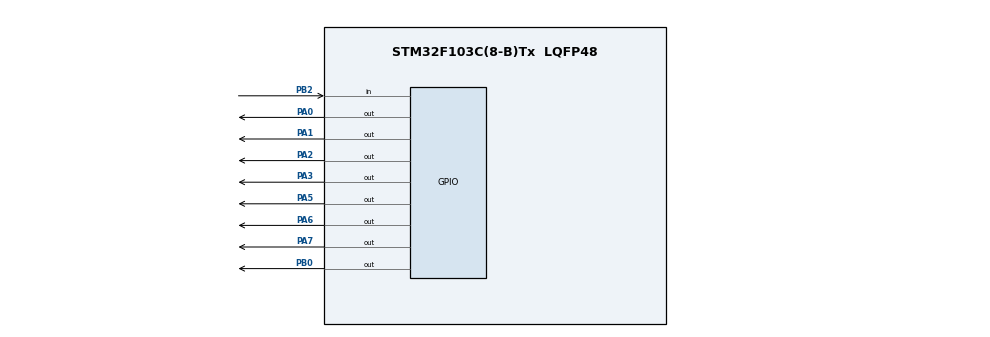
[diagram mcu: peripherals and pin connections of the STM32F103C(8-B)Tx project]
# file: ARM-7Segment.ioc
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Mcu.Family=STM32F1
Mcu.Name=STM32F103C(8-B)Tx
Mcu.Package=LQFP48
NVIC.PriorityGroup=NVIC_PRIORITYGROUP_4
PA0-WKUP.Signal=GPIO_Output
PA1.Signal=GPIO_Output
PA2.Signal=GPIO_Output
PA3.Signal=GPIO_Output
PA5.Signal=GPIO_Output
PA6.Signal=GPIO_Output
PA7.Signal=GPIO_Output
PB0.Signal=GPIO_Output
PB2.GPIO_Mode=GPIO_MODE_INPUT
PB2.GPIO_PuPd=GPIO_PULLUP
PB2.Signal=GPIO_Input
ProjectManager.TargetToolchain=MDK-ARM V5
RCC.APB1Freq_Value=8000000
RCC.APB2Freq_Value=8000000

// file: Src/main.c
/**
  ******************************************************************************
  * File Name          : main.c
  * Date               : 07/09/2020 21:03:31
  * Description        : Main program body
  ******************************************************************************
  *
  * COPYRIGHT(c) 2020 STMicroelectronics
  *
  * Redistribution and use in source and binary forms, with or without modification,
  * are permitted provided that the following conditions are met:
  *   1. Redistributions of source code must retain the above copyright notice,
  *      this list of conditions and the following disclaimer.
  *   2. Redistributions in binary form must reproduce the above copyright notice,
  *      this list of conditions and the following disclaimer in the documentation
  *      and/or other materials provided with the distribution.
  *   3. Neither the name of STMicroelectronics nor the names of its contributors
  *      may be used to endorse or promote products derived from this software
  *      without specific prior written permission.
  *
  * THIS SOFTWARE IS PROVIDED BY THE COPYRIGHT HOLDERS AND CONTRIBUTORS "AS IS"
  * AND ANY EXPRESS OR IMPLIED WARRANTIES, INCLUDING, BUT NOT LIMITED TO, THE
  * IMPLIED WARRANTIES OF MERCHANTABILITY AND FITNESS FOR A PARTICULAR PURPOSE ARE
  * DISCLAIMED. IN NO EVENT SHALL THE COPYRIGHT HOLDER OR CONTRIBUTORS BE LIABLE
  * FOR ANY DIRECT, INDIRECT, INCIDENTAL, SPECIAL, EXEMPLARY, OR CONSEQUENTIAL
  * DAMAGES (INCLUDING, BUT NOT LIMITED TO, PROCUREMENT OF SUBSTITUTE GOODS OR
  * SERVICES; LOSS OF USE, DATA, OR PROFITS; OR BUSINESS INTERRUPTION) HOWEVER
  * CAUSED AND ON ANY THEORY OF LIABILITY, WHETHER IN CONTRACT, STRICT LIABILITY,
  * OR TORT (INCLUDING NEGLIGENCE OR OTHERWISE) ARISING IN ANY WAY OUT OF THE USE
  * OF THIS SOFTWARE, EVEN IF ADVISED OF THE POSSIBILITY OF SUCH DAMAGE.
  *
  ******************************************************************************
  */

#include "stm32f1xx_hal.h"

void SystemClock_Config(void);
static void MX_GPIO_Init(void);

int main(void)
{

  /* MCU Configuration----------------------------------------------------------*/

  /* Reset of all peripherals, Initializes the Flash interface and the Systick. */
  HAL_Init();

  /* Configure the system clock */
  SystemClock_Config();

  /* Initialize all configured peripherals */
  MX_GPIO_Init();

  /* USER CODE BEGIN 2 */
		int counter = 0;
  /* USER CODE END 2 */

  /* Infinite loop */
  /* USER CODE BEGIN WHILE */
  while (1)
  {
		if (HAL_GPIO_ReadPin(GPIOB,GPIO_PIN_2)==GPIO_PIN_SET)
		{
			counter++;
			counter %= 10;
			HAL_GPIO_WritePin(GPIOA,GPIO_PIN_0,GPIO_PIN_RESET); //E
			HAL_GPIO_WritePin(GPIOA,GPIO_PIN_1,GPIO_PIN_RESET); //D
			HAL_GPIO_WritePin(GPIOA,GPIO_PIN_2,GPIO_PIN_RESET); //C
			HAL_GPIO_WritePin(GPIOA,GPIO_PIN_3,GPIO_PIN_RESET); //DP
			HAL_GPIO_WritePin(GPIOA,GPIO_PIN_5,GPIO_PIN_RESET); //G
			HAL_GPIO_WritePin(GPIOA,GPIO_PIN_6,GPIO_PIN_RESET); //F
			HAL_GPIO_WritePin(GPIOA,GPIO_PIN_7,GPIO_PIN_RESET); //A
			HAL_GPIO_WritePin(GPIOB,GPIO_PIN_0,GPIO_PIN_RESET); //B
			if (counter==0)
			{
				HAL_GPIO_WritePin(GPIOA,GPIO_PIN_0,GPIO_PIN_SET); //E
				HAL_GPIO_WritePin(GPIOA,GPIO_PIN_1,GPIO_PIN_SET); //D
				HAL_GPIO_WritePin(GPIOA,GPIO_PIN_2,GPIO_PIN_SET); //C
				HAL_GPIO_WritePin(GPIOA,GPIO_PIN_6,GPIO_PIN_SET); //F
				HAL_GPIO_WritePin(GPIOA,GPIO_PIN_7,GPIO_PIN_SET); //A
				HAL_GPIO_WritePin(GPIOB,GPIO_PIN_0,GPIO_PIN_SET); //B
			}
			else if (counter==1)
			{
				HAL_GPIO_WritePin(GPIOB,GPIO_PIN_0,GPIO_PIN_SET);
				HAL_GPIO_WritePin(GPIOA,GPIO_PIN_2,GPIO_PIN_SET);
			}
			else if (counter==2)
			{
				HAL_GPIO_WritePin(GPIOA,GPIO_PIN_7,GPIO_PIN_SET); //A
				HAL_GPIO_WritePin(GPIOB,GPIO_PIN_0,GPIO_PIN_SET); //B
				HAL_GPIO_WritePin(GPIOA,GPIO_PIN_5,GPIO_PIN_SET); //G
				HAL_GPIO_WritePin(GPIOA,GPIO_PIN_0,GPIO_PIN_SET); //E
			  HAL_GPIO_WritePin(GPIOA,GPIO_PIN_1,GPIO_PIN_SET); //D
			}
			else if (counter==3)
			{
				HAL_GPIO_WritePin(GPIOA,GPIO_PIN_7,GPIO_PIN_SET); //A
				HAL_GPIO_WritePin(GPIOB,GPIO_PIN_0,GPIO_PIN_SET); //B
				HAL_GPIO_WritePin(GPIOA,GPIO_PIN_5,GPIO_PIN_SET); //G
				HAL_GPIO_WritePin(GPIOA,GPIO_PIN_2,GPIO_PIN_SET); //C
			  HAL_GPIO_WritePin(GPIOA,GPIO_PIN_1,GPIO_PIN_SET); //D
			}
			else if (counter==4)
			{
				HAL_GPIO_WritePin(GPIOA,GPIO_PIN_6,GPIO_PIN_SET); //F
				HAL_GPIO_WritePin(GPIOB,GPIO_PIN_0,GPIO_PIN_SET); //B
				HAL_GPIO_WritePin(GPIOA,GPIO_PIN_5,GPIO_PIN_SET); //G
				HAL_GPIO_WritePin(GPIOA,GPIO_PIN_2,GPIO_PIN_SET); //C
			}
			else if (counter==5)
			{
				HAL_GPIO_WritePin(GPIOA,GPIO_PIN_7,GPIO_PIN_SET); //A
				HAL_GPIO_WritePin(GPIOA,GPIO_PIN_6,GPIO_PIN_SET); //F
				HAL_GPIO_WritePin(GPIOA,GPIO_PIN_5,GPIO_PIN_SET); //G
				HAL_GPIO_WritePin(GPIOA,GPIO_PIN_2,GPIO_PIN_SET); //C
			  HAL_GPIO_WritePin(GPIOA,GPIO_PIN_1,GPIO_PIN_SET); //D
			}
			else if (counter==6)
			{
				HAL_GPIO_WritePin(GPIOA,GPIO_PIN_7,GPIO_PIN_SET); //A
				HAL_GPIO_WritePin(GPIOA,GPIO_PIN_6,GPIO_PIN_SET); //F
				HAL_GPIO_WritePin(GPIOA,GPIO_PIN_5,GPIO_PIN_SET); //G
				HAL_GPIO_WritePin(GPIOA,GPIO_PIN_2,GPIO_PIN_SET); //C
			  HAL_GPIO_WritePin(GPIOA,GPIO_PIN_1,GPIO_PIN_SET); //D
				HAL_GPIO_WritePin(GPIOA,GPIO_PIN_0,GPIO_PIN_SET); //E
			}
			else if (counter==7)
			{
				HAL_GPIO_WritePin(GPIOA,GPIO_PIN_7,GPIO_PIN_SET); //A
				HAL_GPIO_WritePin(GPIOA,GPIO_PIN_2,GPIO_PIN_SET); //C
				HAL_GPIO_WritePin(GPIOB,GPIO_PIN_0,GPIO_PIN_SET); //B
			}
			else if (counter==8)
			{
				HAL_GPIO_WritePin(GPIOA,GPIO_PIN_0,GPIO_PIN_SET); //E
				HAL_GPIO_WritePin(GPIOA,GPIO_PIN_1,GPIO_PIN_SET); //D
				HAL_GPIO_WritePin(GPIOA,GPIO_PIN_2,GPIO_PIN_SET); //C
				HAL_GPIO_WritePin(GPIOA,GPIO_PIN_5,GPIO_PIN_SET); //G
				HAL_GPIO_WritePin(GPIOA,GPIO_PIN_6,GPIO_PIN_SET); //F
				HAL_GPIO_WritePin(GPIOA,GPIO_PIN_7,GPIO_PIN_SET); //A
				HAL_GPIO_WritePin(GPIOB,GPIO_PIN_0,GPIO_PIN_SET); //B
			}
			else if (counter==9)
			{
				HAL_GPIO_WritePin(GPIOA,GPIO_PIN_1,GPIO_PIN_SET); //D
				HAL_GPIO_WritePin(GPIOA,GPIO_PIN_2,GPIO_PIN_SET); //C
				HAL_GPIO_WritePin(GPIOA,GPIO_PIN_5,GPIO_PIN_SET); //G
				HAL_GPIO_WritePin(GPIOA,GPIO_PIN_6,GPIO_PIN_SET); //F
				HAL_GPIO_WritePin(GPIOA,GPIO_PIN_7,GPIO_PIN_SET); //A
				HAL_GPIO_WritePin(GPIOB,GPIO_PIN_0,GPIO_PIN_SET); //B
			}
			HAL_Delay(300);
		}
  /* USER CODE END WHILE */

  }

}

/** System Clock Configuration
*/
void SystemClock_Config(void)
{

  RCC_OscInitTypeDef RCC_OscInitStruct;
  RCC_ClkInitTypeDef RCC_ClkInitStruct;

  RCC_OscInitStruct.OscillatorType = RCC_OSCILLATORTYPE_HSI;
  RCC_OscInitStruct.HSIState = RCC_HSI_ON;
  RCC_OscInitStruct.HSICalibrationValue = 16;
  RCC_OscInitStruct.PLL.PLLState = RCC_PLL_NONE;
  HAL_RCC_OscConfig(&RCC_OscInitStruct);

  RCC_ClkInitStruct.ClockType = RCC_CLOCKTYPE_SYSCLK;
  RCC_ClkInitStruct.SYSCLKSource = RCC_SYSCLKSOURCE_HSI;
  RCC_ClkInitStruct.AHBCLKDivider = RCC_SYSCLK_DIV1;
  RCC_ClkInitStruct.APB1CLKDivider = RCC_HCLK_DIV1;
  RCC_ClkInitStruct.APB2CLKDivider = RCC_HCLK_DIV1;
  HAL_RCC_ClockConfig(&RCC_ClkInitStruct, FLASH_LATENCY_0);

}

/** Configure pins as
        * Analog
        * Input
        * Output
        * EVENT_OUT
        * EXTI
*/
void MX_GPIO_Init(void)
{

  GPIO_InitTypeDef GPIO_InitStruct;

  /* GPIO Ports Clock Enable */
  __GPIOA_CLK_ENABLE();
  __GPIOB_CLK_ENABLE();

  /*Configure GPIO pins : PA0 PA1 PA2 PA3
                           PA5 PA6 PA7 */
  GPIO_InitStruct.Pin = GPIO_PIN_0|GPIO_PIN_1|GPIO_PIN_2|GPIO_PIN_3
                          |GPIO_PIN_5|GPIO_PIN_6|GPIO_PIN_7;
  GPIO_InitStruct.Mode = GPIO_MODE_OUTPUT_PP;
  GPIO_InitStruct.Speed = GPIO_SPEED_LOW;
  HAL_GPIO_Init(GPIOA, &GPIO_InitStruct);

  /*Configure GPIO pin : PB0 */
  GPIO_InitStruct.Pin = GPIO_PIN_0;
  GPIO_InitStruct.Mode = GPIO_MODE_OUTPUT_PP;
  GPIO_InitStruct.Speed = GPIO_SPEED_LOW;
  HAL_GPIO_Init(GPIOB, &GPIO_InitStruct);

  /*Configure GPIO pin : PB2 */
  GPIO_InitStruct.Pin = GPIO_PIN_2;
  GPIO_InitStruct.Mode = GPIO_MODE_INPUT;
  GPIO_InitStruct.Pull = GPIO_PULLDOWN;
  HAL_GPIO_Init(GPIOB, &GPIO_InitStruct);

}

/************************ (C) COPYRIGHT STMicroelectronics *****END OF FILE****/
